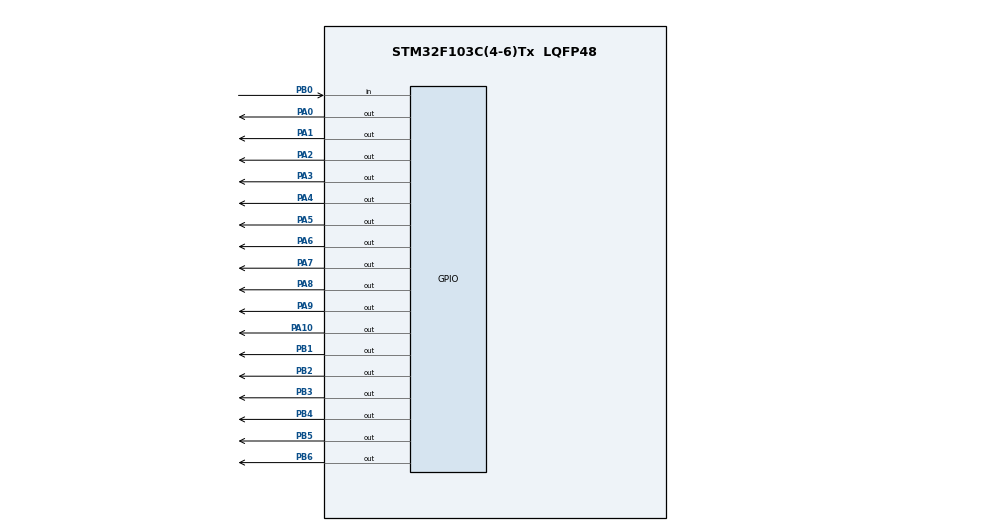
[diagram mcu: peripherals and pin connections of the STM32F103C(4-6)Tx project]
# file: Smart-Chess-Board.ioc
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Mcu.Family=STM32F1
Mcu.Name=STM32F103C(4-6)Tx
Mcu.Package=LQFP48
NVIC.PriorityGroup=NVIC_PRIORITYGROUP_4
PA0-WKUP.Signal=GPIO_Output
PA1.Signal=GPIO_Output
PA10.Signal=GPIO_Output
PA2.Signal=GPIO_Output
PA3.Signal=GPIO_Output
PA4.Signal=GPIO_Output
PA5.Signal=GPIO_Output
PA6.Signal=GPIO_Output
PA7.Signal=GPIO_Output
PA8.Signal=GPIO_Output
PA9.Signal=GPIO_Output
PB0.Signal=GPIO_Input
PB1.Signal=GPIO_Output
PB2.Signal=GPIO_Output
PB3.Signal=GPIO_Output
PB4.Signal=GPIO_Output
PB5.Signal=GPIO_Output
PB6.Signal=GPIO_Output
ProjectManager.HeapSize=0x200
ProjectManager.StackSize=0x400
ProjectManager.TargetToolchain=STM32CubeIDE
RCC.APB1Freq_Value=8000000
RCC.APB2Freq_Value=8000000
TIM1.Prescaler=15
VP_SYS_VS_ND.Mode=No_Debug
VP_TIM1_VS_ClockSourceINT.Mode=Internal
VP_TIM1_VS_ClockSourceITR.Mode=TriggerSource_ITR0
board=custom

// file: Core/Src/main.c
/* USER CODE BEGIN Header */
/**
  ******************************************************************************
  * @file           : main.c
  * @brief          : Main program body
  ******************************************************************************
  * @attention
  *
  * <h2><center>&copy; Copyright (c) 2021 STMicroelectronics.
  * All rights reserved.</center></h2>
  *
  * This software component is licensed by ST under BSD 3-Clause license,
  * the "License"; You may not use this file except in compliance with the
  * License. You may obtain a copy of the License at:
  *                        opensource.org/licenses/BSD-3-Clause
  *
  ******************************************************************************
  */
/* USER CODE END Header */
#include "main.h"

/* USER CODE BEGIN Includes */
#include <ctype.h>
/* USER CODE END Includes */

/* USER CODE BEGIN PTD */
typedef struct Posicao{
	int linha;
	int coluna;
}Posicao;

typedef struct Peca{
	Posicao posicao;
	char nome;
	uint32_t movimentos;
}Peca;

/* USER CODE END PTD */

/* USER CODE BEGIN PD */
#define OFF_LED                 0x38 << 16u
#define RED_LED                 0x08
#define GREEN_LED               0x10
#define BLUE_LED                0x20
#define WHITE_LED               0x38

#define TabStatus               (GPIOB->IDR & GPIO_PIN_0)

#define LedON                   GPIOB->BSRR = GPIO_PIN_2
#define LedOFF                  GPIOB->BSRR = GPIO_PIN_2 << 16u

#define CounterON               GPIOB->BSRR = GPIO_PIN_6
#define CounterOFF              GPIOB->BSRR = GPIO_PIN_6 << 16u

/*Trabalhando com display*/
#define LCD_E                   GPIO_PIN_8
#define LCD_RW                  GPIO_PIN_9
#define LCD_RS                  GPIO_PIN_10
#define LCD_RS_LOW              GPIOA->BSRR = LCD_RS << 16u
#define LCD_RS_HIGH             GPIOA->BSRR = LCD_RS
#define LCD_E_LOW               GPIOA->BSRR = LCD_E << 16u
#define LCD_E_HIGH              GPIOA->BSRR = LCD_E
#define LCD_E_BLINK             LCD_E_HIGH; LCD_Delay_us(50); LCD_E_LOW; LCD_Delay_us(50)
/* Commands*/
#define LCD_CLEARDISPLAY        0x01
#define LCD_RETURNHOME          0x02
#define LCD_ENTRYMODESET        0x04
#define LCD_DISPLAYCONTROL      0x08
#define LCD_CURSORSHIFT         0x10
#define LCD_FUNCTIONSET         0x20
#define LCD_SETCGRAMADDR        0x40
#define LCD_SETDDRAMADDR        0x80
/* Flags for display entry mode */
#define LCD_ENTRYRIGHT          0x00
#define LCD_ENTRYLEFT           0x02
#define LCD_ENTRYSHIFTINCREMENT 0x01
#define LCD_ENTRYSHIFTDECREMENT 0x00
/* Flags for display on/off control */
#define LCD_DISPLAYON           0x04
#define LCD_CURSORON            0x02
#define LCD_BLINKON             0x01
/* Flags for display/cursor shift */
#define LCD_DISPLAYMOVE         0x08
#define LCD_CURSORMOVE          0x00
#define LCD_MOVERIGHT           0x04
#define LCD_MOVELEFT            0x00
/* Flags for function set */
#define LCD_8BITMODE            0x10
#define LCD_4BITMODE            0x00
#define LCD_2LINE               0x08
#define LCD_1LINE               0x00
#define LCD_5x10DOTS            0x04
#define LCD_5x8DOTS             0x00
/* USER CODE END PD */

TIM_HandleTypeDef htim1;

/* USER CODE BEGIN PV */

uint8_t Turno = 0;

Peca Tabuleiro[8][8]= {
	{
		{.posicao.linha = 0, .posicao.coluna = 0, .nome = 'T', .movimentos = 0},
		{.posicao.linha = 0, .posicao.coluna = 1, .nome = 'C', .movimentos = 0},
		{.posicao.linha = 0, .posicao.coluna = 2, .nome = 'B', .movimentos = 0},
		{.posicao.linha = 0, .posicao.coluna = 3, .nome = 'Q', .movimentos = 0},
		{.posicao.linha = 0, .posicao.coluna = 4, .nome = 'K', .movimentos = 0},
		{.posicao.linha = 0, .posicao.coluna = 5, .nome = 'B', .movimentos = 0},
		{.posicao.linha = 0, .posicao.coluna = 6, .nome = 'C', .movimentos = 0},
		{.posicao.linha = 0, .posicao.coluna = 7, .nome = 'T', .movimentos = 0}
	},
	{
		{.posicao.linha = 1, .posicao.coluna = 0, .nome = 'P', .movimentos = 0},
		{.posicao.linha = 1, .posicao.coluna = 1, .nome = 'P', .movimentos = 0},
		{.posicao.linha = 1, .posicao.coluna = 2, .nome = 'P', .movimentos = 0},
		{.posicao.linha = 1, .posicao.coluna = 3, .nome = 'P', .movimentos = 0},
		{.posicao.linha = 1, .posicao.coluna = 4, .nome = 'P', .movimentos = 0},
		{.posicao.linha = 1, .posicao.coluna = 5, .nome = 'P', .movimentos = 0},
		{.posicao.linha = 1, .posicao.coluna = 6, .nome = 'P', .movimentos = 0},
		{.posicao.linha = 1, .posicao.coluna = 7, .nome = 'P', .movimentos = 0}
	},
	{
		{.posicao.linha = 2, .posicao.coluna = 0, .nome = '-', .movimentos = 0},
		{.posicao.linha = 2, .posicao.coluna = 1, .nome = '-', .movimentos = 0},
		{.posicao.linha = 2, .posicao.coluna = 2, .nome = '-', .movimentos = 0},
		{.posicao.linha = 2, .posicao.coluna = 3, .nome = '-', .movimentos = 0},
		{.posicao.linha = 2, .posicao.coluna = 4, .nome = '-', .movimentos = 0},
		{.posicao.linha = 2, .posicao.coluna = 5, .nome = '-', .movimentos = 0},
		{.posicao.linha = 2, .posicao.coluna = 6, .nome = '-', .movimentos = 0},
		{.posicao.linha = 2, .posicao.coluna = 7, .nome = '-', .movimentos = 0}
	},
	{
		{.posicao.linha = 3, .posicao.coluna = 0, .nome = '-', .movimentos = 0},
		{.posicao.linha = 3, .posicao.coluna = 1, .nome = '-', .movimentos = 0},
		{.posicao.linha = 3, .posicao.coluna = 2, .nome = '-', .movimentos = 0},
		{.posicao.linha = 3, .posicao.coluna = 3, .nome = '-', .movimentos = 0},
		{.posicao.linha = 3, .posicao.coluna = 4, .nome = '-', .movimentos = 0},
		{.posicao.linha = 3, .posicao.coluna = 5, .nome = '-', .movimentos = 0},
		{.posicao.linha = 3, .posicao.coluna = 6, .nome = '-', .movimentos = 0},
		{.posicao.linha = 3, .posicao.coluna = 7, .nome = '-', .movimentos = 0}
	},
	{
		{.posicao.linha = 4, .posicao.coluna = 0, .nome = '-', .movimentos = 0},
		{.posicao.linha = 4, .posicao.coluna = 1, .nome = '-', .movimentos = 0},
		{.posicao.linha = 4, .posicao.coluna = 2, .nome = '-', .movimentos = 0},
		{.posicao.linha = 4, .posicao.coluna = 3, .nome = '-', .movimentos = 0},
		{.posicao.linha = 4, .posicao.coluna = 4, .nome = '-', .movimentos = 0},
		{.posicao.linha = 4, .posicao.coluna = 5, .nome = '-', .movimentos = 0},
		{.posicao.linha = 4, .posicao.coluna = 6, .nome = '-', .movimentos = 0},
		{.posicao.linha = 4, .posicao.coluna = 7, .nome = '-', .movimentos = 0}
	},
	{
		{.posicao.linha = 5, .posicao.coluna = 0, .nome = '-', .movimentos = 0},
		{.posicao.linha = 5, .posicao.coluna = 1, .nome = '-', .movimentos = 0},
		{.posicao.linha = 5, .posicao.coluna = 2, .nome = '-', .movimentos = 0},
		{.posicao.linha = 5, .posicao.coluna = 3, .nome = '-', .movimentos = 0},
		{.posicao.linha = 5, .posicao.coluna = 4, .nome = '-', .movimentos = 0},
		{.posicao.linha = 5, .posicao.coluna = 5, .nome = '-', .movimentos = 0},
		{.posicao.linha = 5, .posicao.coluna = 6, .nome = '-', .movimentos = 0},
		{.posicao.linha = 5, .posicao.coluna = 7, .nome = '-', .movimentos = 0}
	},
	{
		{.posicao.linha = 6, .posicao.coluna = 0, .nome = 'p', .movimentos = 0},
		{.posicao.linha = 6, .posicao.coluna = 1, .nome = 'p', .movimentos = 0},
		{.posicao.linha = 6, .posicao.coluna = 2, .nome = 'p', .movimentos = 0},
		{.posicao.linha = 6, .posicao.coluna = 3, .nome = 'p', .movimentos = 0},
		{.posicao.linha = 6, .posicao.coluna = 4, .nome = 'p', .movimentos = 0},
		{.posicao.linha = 6, .posicao.coluna = 5, .nome = 'p', .movimentos = 0},
		{.posicao.linha = 6, .posicao.coluna = 6, .nome = 'p', .movimentos = 0},
		{.posicao.linha = 6, .posicao.coluna = 7, .nome = 'p', .movimentos = 0}
	},
	{
		{.posicao.linha = 7, .posicao.coluna = 0, .nome = 't', .movimentos = 0},
		{.posicao.linha = 7, .posicao.coluna = 1, .nome = 'c', .movimentos = 0},
		{.posicao.linha = 7, .posicao.coluna = 2, .nome = 'b', .movimentos = 0},
		{.posicao.linha = 7, .posicao.coluna = 3, .nome = 'q', .movimentos = 0},
		{.posicao.linha = 7, .posicao.coluna = 4, .nome = 'k', .movimentos = 0},
		{.posicao.linha = 7, .posicao.coluna = 5, .nome = 'b', .movimentos = 0},
		{.posicao.linha = 7, .posicao.coluna = 6, .nome = 'c', .movimentos = 0},
		{.posicao.linha = 7, .posicao.coluna = 7, .nome = 't', .movimentos = 0}
	}
};
uint16_t MovPos [8][8] = {
	{0,0, 0, 0, 0,0, 0, 0},
	{0,0, 0, 0, 0,0, 0, 0},
	{0,0, 0, 0, 0,0, 0, 0},
	{0,0, 0, 0, 0,0, 0, 0},
	{0,0, 0, 0, 0,0, 0, 0},
	{0,0, 0, 0, 0,0, 0, 0},
	{0,0, 0, 0, 0,0, 0, 0},
	{0,0, 0, 0, 0,0, 0, 0}
};

char TabAtual [8][8] = {
	{'T','C', 'B', 'Q', 'K', 'B', 'C', 'T'},
	{'P','P', 'P', 'P', 'P', 'P', 'P', 'P'},
	{'-','-', '-', '-', '-', '-', '-', '-'},
	{'-','-', '-', '-', '-', '-', '-', '-'},
	{'-','T', '-', '-', '-', '-', '-', '-'},
	{'-','-', '-', '-', '-', '-', '-', '-'},
	{'p','p', 'p', 'p', 'p', 'p', 'p', 'p'},
	{'t','c', 'b', 'q', 'k', 'b', 'c', 't'}
};

uint32_t Led [8][8] = {
	{OFF_LED, OFF_LED, OFF_LED, OFF_LED, OFF_LED, OFF_LED, OFF_LED, OFF_LED},
	{OFF_LED, OFF_LED, OFF_LED, OFF_LED, OFF_LED, OFF_LED, OFF_LED, OFF_LED},
	{OFF_LED, OFF_LED, OFF_LED, OFF_LED, OFF_LED, OFF_LED, OFF_LED, OFF_LED},
	{OFF_LED, OFF_LED, OFF_LED, OFF_LED, OFF_LED, OFF_LED, OFF_LED, OFF_LED},
	{OFF_LED, OFF_LED, OFF_LED, OFF_LED, OFF_LED, OFF_LED, OFF_LED, OFF_LED},
	{OFF_LED, OFF_LED, OFF_LED, OFF_LED, OFF_LED, OFF_LED, OFF_LED, OFF_LED},
	{OFF_LED, OFF_LED, OFF_LED, OFF_LED, OFF_LED, OFF_LED, OFF_LED, OFF_LED},
	{OFF_LED, OFF_LED, OFF_LED, OFF_LED, OFF_LED, OFF_LED, OFF_LED, OFF_LED}
};

char* LCD_Texto= "  Smart Chaess  \n      Board     ";

/* USER CODE END PV */

void SystemClock_Config(void);
static void MX_GPIO_Init(void);
static void MX_TIM1_Init(void);
/* USER CODE BEGIN PFP */
Peca* VerifyTab();
Peca* VerifyMov();
void Troca(Peca* p,Peca* p2);
void AtualizaLed(Peca* p);
void MovPossiveis(Peca* p);
void LigaLed();
void SetTable();
void ClearLed();
void  LCD_Delay_us(uint16_t  us);
static void LCD_Cmd(uint8_t cmd);
static void LCD_Data(uint8_t data);
void LCD_Init();
void LCD_Clear();
void LCD_Write(char* str);
/* USER CODE END PFP */

int main(void)
{

  /* MCU Configuration--------------------------------------------------------*/

  /* Reset of all peripherals, Initializes the Flash interface and the Systick. */
  HAL_Init();

  /* Configure the system clock */
  SystemClock_Config();

  /* Initialize all configured peripherals */
  MX_GPIO_Init();
  MX_TIM1_Init();
  /* USER CODE BEGIN 2 */
  LCD_Init();
  /* USER CODE END 2 */

  /* Infinite loop */
  while (1)
  {

    /* USER CODE BEGIN 3 */

	if(Turno==0){
		LCD_Write(" Jogador da vez:\n    Brancas     ");
	}
	else{
		LCD_Write(" Jogador da vez:\n    Pretas      ");
	}
	Peca* p;
	p = VerifyTab() ;
	if ( p != NULL ){
		if((islower(p->nome)&&Turno!=0)||(!islower(p->nome)&&Turno==0)){
			AtualizaLed(p);
			LigaLed();
			TabAtual[p->posicao.coluna][p->posicao.coluna ] = '-';
			Peca* p2 = VerifyMov();
			while(p2 == NULL){
				LigaLed();
				p2 = VerifyMov();
			}
			ClearLed();
			if(p2->nome=='-'){
				Troca(p,p2);
			}
			else{
				Led[p2->posicao.linha][p2->posicao.coluna] = WHITE_LED;
				TabAtual[p2->posicao.coluna][p2->posicao.coluna ] = '-';
				p2->nome = '-';
				for(int i=0;i<8;i++){
					for(int j=0;j<8;j++){
						MovPos[i][j]=0;
					}
				}
				MovPos[p2->posicao.linha][p2->posicao.coluna]=1;
				p2 = VerifyMov();
				while(p2 == NULL){
					LigaLed();
					p2 = VerifyMov();
				}

				Troca(p,p2);
			}
			Turno = (Turno+1)%2;
		}
		else{
			Led[p->posicao.linha][p->posicao.coluna] = RED_LED;
			LigaLed();
		}

	}

  }
  /* USER CODE END 3 */
}

void SystemClock_Config(void)
{
  RCC_OscInitTypeDef RCC_OscInitStruct = {0};
  RCC_ClkInitTypeDef RCC_ClkInitStruct = {0};

  /** Initializes the RCC Oscillators according to the specified parameters
  * in the RCC_OscInitTypeDef structure.
  */
  RCC_OscInitStruct.OscillatorType = RCC_OSCILLATORTYPE_HSI;
  RCC_OscInitStruct.HSIState = RCC_HSI_ON;
  RCC_OscInitStruct.HSICalibrationValue = RCC_HSICALIBRATION_DEFAULT;
  RCC_OscInitStruct.PLL.PLLState = RCC_PLL_NONE;
  if (HAL_RCC_OscConfig(&RCC_OscInitStruct) != HAL_OK)
  {
    Error_Handler();
  }
  /** Initializes the CPU, AHB and APB buses clocks
  */
  RCC_ClkInitStruct.ClockType = RCC_CLOCKTYPE_HCLK|RCC_CLOCKTYPE_SYSCLK
                              |RCC_CLOCKTYPE_PCLK1|RCC_CLOCKTYPE_PCLK2;
  RCC_ClkInitStruct.SYSCLKSource = RCC_SYSCLKSOURCE_HSI;
  RCC_ClkInitStruct.AHBCLKDivider = RCC_SYSCLK_DIV1;
  RCC_ClkInitStruct.APB1CLKDivider = RCC_HCLK_DIV1;
  RCC_ClkInitStruct.APB2CLKDivider = RCC_HCLK_DIV1;

  if (HAL_RCC_ClockConfig(&RCC_ClkInitStruct, FLASH_LATENCY_0) != HAL_OK)
  {
    Error_Handler();
  }
}

static void MX_TIM1_Init(void)
{

  TIM_ClockConfigTypeDef sClockSourceConfig = {0};
  TIM_SlaveConfigTypeDef sSlaveConfig = {0};
  TIM_MasterConfigTypeDef sMasterConfig = {0};

  htim1.Instance = TIM1;
  htim1.Init.Prescaler = 15;
  htim1.Init.CounterMode = TIM_COUNTERMODE_UP;
  htim1.Init.Period = 65535;
  htim1.Init.ClockDivision = TIM_CLOCKDIVISION_DIV1;
  htim1.Init.RepetitionCounter = 0;
  htim1.Init.AutoReloadPreload = TIM_AUTORELOAD_PRELOAD_DISABLE;
  if (HAL_TIM_Base_Init(&htim1) != HAL_OK)
  {
    Error_Handler();
  }
  sClockSourceConfig.ClockSource = TIM_CLOCKSOURCE_INTERNAL;
  if (HAL_TIM_ConfigClockSource(&htim1, &sClockSourceConfig) != HAL_OK)
  {
    Error_Handler();
  }
  sSlaveConfig.SlaveMode = TIM_SLAVEMODE_DISABLE;
  sSlaveConfig.InputTrigger = TIM_TS_ITR0;
  if (HAL_TIM_SlaveConfigSynchro(&htim1, &sSlaveConfig) != HAL_OK)
  {
    Error_Handler();
  }
  sMasterConfig.MasterOutputTrigger = TIM_TRGO_RESET;
  sMasterConfig.MasterSlaveMode = TIM_MASTERSLAVEMODE_DISABLE;
  if (HAL_TIMEx_MasterConfigSynchronization(&htim1, &sMasterConfig) != HAL_OK)
  {
    Error_Handler();
  }

}

static void MX_GPIO_Init(void)
{
  GPIO_InitTypeDef GPIO_InitStruct = {0};

  /* GPIO Ports Clock Enable */
  __HAL_RCC_GPIOA_CLK_ENABLE();
  __HAL_RCC_GPIOB_CLK_ENABLE();

  /*Configure GPIO pin Output Level */
  HAL_GPIO_WritePin(GPIOA, GPIO_PIN_0|GPIO_PIN_1|GPIO_PIN_2|GPIO_PIN_3
                          |GPIO_PIN_4|GPIO_PIN_5|GPIO_PIN_6|GPIO_PIN_7
                          |GPIO_PIN_8|GPIO_PIN_9|GPIO_PIN_10, GPIO_PIN_RESET);

  /*Configure GPIO pin Output Level */
  HAL_GPIO_WritePin(GPIOB, GPIO_PIN_1|GPIO_PIN_2|GPIO_PIN_3|GPIO_PIN_4
                          |GPIO_PIN_5|GPIO_PIN_6, GPIO_PIN_RESET);

  /*Configure GPIO pins : PA0 PA1 PA2 PA3
                           PA4 PA5 PA6 PA7
                           PA8 PA9 PA10 */
  GPIO_InitStruct.Pin = GPIO_PIN_0|GPIO_PIN_1|GPIO_PIN_2|GPIO_PIN_3
                          |GPIO_PIN_4|GPIO_PIN_5|GPIO_PIN_6|GPIO_PIN_7
                          |GPIO_PIN_8|GPIO_PIN_9|GPIO_PIN_10;
  GPIO_InitStruct.Mode = GPIO_MODE_OUTPUT_PP;
  GPIO_InitStruct.Pull = GPIO_NOPULL;
  GPIO_InitStruct.Speed = GPIO_SPEED_FREQ_LOW;
  HAL_GPIO_Init(GPIOA, &GPIO_InitStruct);

  /*Configure GPIO pin : PB0 */
  GPIO_InitStruct.Pin = GPIO_PIN_0;
  GPIO_InitStruct.Mode = GPIO_MODE_INPUT;
  GPIO_InitStruct.Pull = GPIO_NOPULL;
  HAL_GPIO_Init(GPIOB, &GPIO_InitStruct);

  /*Configure GPIO pins : PB1 PB2 PB3 PB4
                           PB5 PB6 */
  GPIO_InitStruct.Pin = GPIO_PIN_1|GPIO_PIN_2|GPIO_PIN_3|GPIO_PIN_4
                          |GPIO_PIN_5|GPIO_PIN_6;
  GPIO_InitStruct.Mode = GPIO_MODE_OUTPUT_PP;
  GPIO_InitStruct.Pull = GPIO_NOPULL;
  GPIO_InitStruct.Speed = GPIO_SPEED_FREQ_LOW;
  HAL_GPIO_Init(GPIOB, &GPIO_InitStruct);

}

/* USER CODE BEGIN 4 */

/* Desliga todos os leds do tabuleiro */
void ClearLed() {
	for(int i=0;i<8;i++){
		for (int j=0;j<8;j++){
			Led[i][j]= OFF_LED;
		}
	}
}

/* Define a iluminação do tabuleiro */
void AtualizaLed(Peca* p){
	MovPossiveis(p);
	for(int i=0;i<8;i++){
		for(int j=0;j<8;j++){
			if(MovPos[i][j]){
				Led[i][j] = WHITE_LED;
			}
			else{
				Led[j][i]= OFF_LED;
			}
		}
	}

	LigaLed();
}
void MovPossiveis(Peca* p){
	int i=0;
	Posicao posicao_aux = p->posicao;
	switch ( p->nome ){
	case'P':
		if ( (islower( p->nome ) != islower( TabAtual[posicao_aux.linha+1][posicao_aux.coluna+1])) && (posicao_aux.coluna+1<8) ){

			MovPos[posicao_aux.linha+1][posicao_aux.coluna+1] = 1;}
		if(islower(p->nome) != islower(TabAtual[posicao_aux.linha+1][posicao_aux.coluna-1]) && posicao_aux.coluna-1>-1 ){

			MovPos[posicao_aux.linha+1][posicao_aux.coluna-1] = 1;}
		if ( posicao_aux.linha==1){
			if( TabAtual[posicao_aux.linha+2][posicao_aux.coluna]=='-' ){

				MovPos[posicao_aux.linha+2][posicao_aux.coluna] = 1;
			}
		}
		if( TabAtual[posicao_aux.linha+1][posicao_aux.coluna]=='-' ){

			MovPos[posicao_aux.linha+1][posicao_aux.coluna] = 1;
		}
		break;
	case'p':
		if ( islower(p->nome) != islower(TabAtual[posicao_aux.linha-1][posicao_aux.coluna-1]) && posicao_aux.coluna+1<8 ){

			MovPos[posicao_aux.linha-1][posicao_aux.coluna-1] = 1;}
		if ( islower(p->nome) != islower(TabAtual[posicao_aux.linha-1][posicao_aux.coluna-1]) && posicao_aux.coluna-1>-1 ){

			MovPos[posicao_aux.linha-1][posicao_aux.coluna-1] = 1;}
		if ( posicao_aux.linha==6){
			if( TabAtual[posicao_aux.linha-2][posicao_aux.coluna]=='-' ){

				MovPos[posicao_aux.linha-2][posicao_aux.coluna] = 1;
			}
		}
		if( TabAtual[posicao_aux.linha-1][posicao_aux.coluna]=='-' ){

			MovPos[posicao_aux.linha-1][posicao_aux.coluna] = 1;
		}
		break;

	case 'T':
	case 't':
        while ( (TabAtual[posicao_aux.linha+i][posicao_aux.coluna]=='-' || islower(p->nome)!=islower(TabAtual[posicao_aux.linha+i][posicao_aux.coluna]) ) && posicao_aux.linha>-1){

		    MovPos[posicao_aux.linha+i][posicao_aux.coluna] = 1;
			i = i-1;
		}
		i=0;
		while ( (TabAtual[posicao_aux.linha+i][posicao_aux.coluna]=='-' || islower(p->nome)!=islower(TabAtual[posicao_aux.linha+i][posicao_aux.coluna]) ) && posicao_aux.linha<8){

			MovPos[posicao_aux.linha+i][posicao_aux.coluna] = 1;
			i = i+1;

		}
		i=0;
		while ( (TabAtual[posicao_aux.linha][posicao_aux.coluna+i]=='-' || islower(p->nome)!=islower(TabAtual[posicao_aux.linha][posicao_aux.coluna+i]) ) && posicao_aux.coluna>-1){

			MovPos[posicao_aux.linha][posicao_aux.coluna+i] = 1;
			i = i-1;
		}
		i=0;
		while ( (TabAtual[posicao_aux.linha][posicao_aux.coluna+i]=='-' || islower(p->nome)!=islower(TabAtual[posicao_aux.linha][posicao_aux.coluna+i]) ) && posicao_aux.linha<8){

			MovPos[posicao_aux.linha][posicao_aux.coluna+i] = 1;
			i = i+1;
		}
		break;
	case 'c':
	case 'C':
		if ( (TabAtual[posicao_aux.linha-2][posicao_aux.coluna+1]=='-' || islower(p->nome)!=islower(TabAtual[posicao_aux.linha-2][posicao_aux.coluna+1]) ) && posicao_aux.linha-2>-1 && posicao_aux.coluna+1<8){

		    MovPos[posicao_aux.linha-2][posicao_aux.coluna+1] = 1;
		}
		if ( (TabAtual[posicao_aux.linha-1][posicao_aux.coluna+2]=='-' || islower(p->nome)!=islower(TabAtual[posicao_aux.linha-1][posicao_aux.coluna+2]) ) && posicao_aux.linha-1>-1 && posicao_aux.coluna+2<8){

		    MovPos[posicao_aux.linha-1][posicao_aux.coluna+2] = 1;
		}
		if ( (TabAtual[posicao_aux.linha+1][posicao_aux.coluna+2]=='-' || islower(p->nome)!=islower(TabAtual[posicao_aux.linha+1][posicao_aux.coluna+2]) ) && posicao_aux.linha+1<8 && posicao_aux.coluna+2<8){

		    MovPos[posicao_aux.linha+1][posicao_aux.coluna+2] = 1;
		}
		if ( (TabAtual[posicao_aux.linha+2][posicao_aux.coluna+1]=='-' || islower(p->nome)!=islower(TabAtual[posicao_aux.linha+2][posicao_aux.coluna+1]) ) && posicao_aux.linha+2<8 && posicao_aux.coluna+1<8){

		    MovPos[posicao_aux.linha+2][posicao_aux.coluna+1] = 1;
		}
		if ( (TabAtual[posicao_aux.linha+2][posicao_aux.coluna-1]=='-' || islower(p->nome)!=islower(TabAtual[posicao_aux.linha+2][posicao_aux.coluna-1]) ) && posicao_aux.linha+2<8 && posicao_aux.coluna-1>-1){

		    MovPos[posicao_aux.linha+2][posicao_aux.coluna-1] = 1;
		}
		if ( (TabAtual[posicao_aux.linha+1][posicao_aux.coluna-2]=='-' || islower(p->nome)!=islower(TabAtual[posicao_aux.linha+1][posicao_aux.coluna-2]) ) && posicao_aux.linha+1<8 && posicao_aux.coluna-2>-1){

		    MovPos[posicao_aux.linha+1][posicao_aux.coluna-2] = 1;
		}
		if ( (TabAtual[posicao_aux.linha-1][posicao_aux.coluna-2]=='-' || islower(p->nome)!=islower(TabAtual[posicao_aux.linha-1][posicao_aux.coluna-2]) ) && posicao_aux.linha-1>-1 && posicao_aux.coluna-2>-1){

		    MovPos[posicao_aux.linha-1][posicao_aux.coluna-2] = 1;
		}
		if ( (TabAtual[posicao_aux.linha-2][posicao_aux.coluna-1]=='-' || islower(p->nome)!=islower(TabAtual[posicao_aux.linha-2][posicao_aux.coluna-1]) ) && posicao_aux.linha-2>-1 && posicao_aux.coluna-1>-1){

		    MovPos[posicao_aux.linha-2][posicao_aux.coluna-1] = 1;
		}
		break;

	case'b':
	case'B':
		while ( (TabAtual[posicao_aux.linha-i][posicao_aux.coluna+i]=='-' || islower(p->nome)!=islower(TabAtual[posicao_aux.linha-i][posicao_aux.coluna+i]) ) && posicao_aux.linha-i>-1 && posicao_aux.coluna+i<8){

			MovPos[posicao_aux.linha-i][posicao_aux.coluna+i] = 1;
			i = i+1;
		}
		i=0;
		while ( (TabAtual[posicao_aux.linha+i][posicao_aux.coluna+i]=='-' || islower(p->nome)!=islower(TabAtual[posicao_aux.linha+i][posicao_aux.coluna+i]) ) && posicao_aux.linha+i<8 && posicao_aux.coluna+i<8){

			MovPos[posicao_aux.linha+i][posicao_aux.coluna+i] = 1;
			i = i+1;
		}
		i=0;
		while ( (TabAtual[posicao_aux.linha+i][posicao_aux.coluna-i]=='-' || islower(p->nome)!=islower(TabAtual[posicao_aux.linha+i][posicao_aux.coluna-i]) ) && posicao_aux.linha+i<8 && posicao_aux.coluna-i>-1){

			MovPos[posicao_aux.linha+i][posicao_aux.coluna-i] = 1;
			i = i+1;
		}
		i=0;
		while ( (TabAtual[posicao_aux.linha-i][posicao_aux.coluna-i]=='-' || islower(p->nome)!=islower(TabAtual[posicao_aux.linha-i][posicao_aux.coluna-i]) ) && posicao_aux.linha-i>-1 && posicao_aux.coluna-i>-1){

			MovPos[posicao_aux.linha-i][posicao_aux.coluna-i] = 1;
			i = i+1;
		}
		i=0;
		break;
	case 'q':
	case 'Q':
		while ( (TabAtual[posicao_aux.linha+i][posicao_aux.coluna]=='-' || islower(p->nome)!=islower(TabAtual[posicao_aux.linha+i][posicao_aux.coluna]) ) && posicao_aux.linha>-1){

			MovPos[posicao_aux.linha+i][posicao_aux.coluna] = 1;
			i = i-1;
		}
		i=0;
		while ( (TabAtual[posicao_aux.linha+i][posicao_aux.coluna]=='-' || islower(p->nome)!=islower(TabAtual[posicao_aux.linha+i][posicao_aux.coluna]) ) && posicao_aux.linha<8){

			MovPos[posicao_aux.linha+i][posicao_aux.coluna] = 1;
			i = i+1;
		}
		i=0;
		while ( (TabAtual[posicao_aux.linha][posicao_aux.coluna+i]=='-' || islower(p->nome)!=islower(TabAtual[posicao_aux.linha][posicao_aux.coluna+i]) ) && posicao_aux.coluna>-1){

			MovPos[posicao_aux.linha][posicao_aux.coluna+i] = 1;
			i = i-1;
		}
		i=0;
		while ( (TabAtual[posicao_aux.linha][posicao_aux.coluna+i]=='-' || islower(p->nome)!=islower(TabAtual[posicao_aux.linha][posicao_aux.coluna+i]) ) && posicao_aux.linha<8){

			MovPos[posicao_aux.linha][posicao_aux.coluna+i] = 1;
			i = i+1;
		}
		while ( (TabAtual[posicao_aux.linha-i][posicao_aux.coluna+i]=='-' || islower(p->nome)!=islower(TabAtual[posicao_aux.linha-i][posicao_aux.coluna+i]) ) && posicao_aux.linha-i>-1 && posicao_aux.coluna+i<8){

			MovPos[posicao_aux.linha-i][posicao_aux.coluna+i] = 1;
			i = i+1;
		}
		i=0;
		while ( (TabAtual[posicao_aux.linha+i][posicao_aux.coluna+i]=='-' || islower(p->nome)!=islower(TabAtual[posicao_aux.linha+i][posicao_aux.coluna+i]) ) && posicao_aux.linha+i<8 && posicao_aux.coluna+i<8){

			MovPos[posicao_aux.linha+i][posicao_aux.coluna+i] = 1;
			i = i+1;
		}
		i=0;
		while ( (TabAtual[posicao_aux.linha+i][posicao_aux.coluna-i]=='-' || islower(p->nome)!=islower(TabAtual[posicao_aux.linha+i][posicao_aux.coluna-i]) ) && posicao_aux.linha+i<8 && posicao_aux.coluna-i>-1){

			MovPos[posicao_aux.linha+i][posicao_aux.coluna-i] = 1;
			i = i+1;
		}
		i=0;
		while ( (TabAtual[posicao_aux.linha-i][posicao_aux.coluna-i]=='-' || islower(p->nome)!=islower(TabAtual[posicao_aux.linha-i][posicao_aux.coluna-i]) ) && posicao_aux.linha-i>-1 && posicao_aux.coluna-i>-1){

			MovPos[posicao_aux.linha-i][posicao_aux.coluna-i] = 1;
			i = i+1;
			}
		i=0;
		break;
	case'K':
	case'k':
		if ( (TabAtual[posicao_aux.linha-1][posicao_aux.coluna+1]=='-' || islower(p->nome)!=islower(TabAtual[posicao_aux.linha-1][posicao_aux.coluna+1]) ) && posicao_aux.linha-1>-1 && posicao_aux.coluna+1<8){

			MovPos[posicao_aux.linha-1][posicao_aux.coluna+1] = 1;
		}
		if ( (TabAtual[posicao_aux.linha-1][posicao_aux.coluna-1]=='-' || islower(p->nome)!=islower(TabAtual[posicao_aux.linha-1][posicao_aux.coluna-1]) ) && posicao_aux.linha-1>-1 && posicao_aux.coluna-1>-1){

			MovPos[posicao_aux.linha-1][posicao_aux.coluna-1] = 1;
		}
		if ( (TabAtual[posicao_aux.linha+1][posicao_aux.coluna+1]=='-' || islower(p->nome)!=islower(TabAtual[posicao_aux.linha+1][posicao_aux.coluna+1]) ) && posicao_aux.linha+1<8 && posicao_aux.coluna+1<8){

			MovPos[posicao_aux.linha+1][posicao_aux.coluna+1] = 1;
		}
		if ( (TabAtual[posicao_aux.linha+1][posicao_aux.coluna-1]=='-' || islower(p->nome)!=islower(TabAtual[posicao_aux.linha+1][posicao_aux.coluna-1]) ) && posicao_aux.linha+1<8 && posicao_aux.coluna-1>-1){

			MovPos[posicao_aux.linha+1][posicao_aux.coluna-1] = 1;
		}
		if ( (TabAtual[posicao_aux.linha-1][posicao_aux.coluna]=='-' || islower(p->nome)!=islower(TabAtual[posicao_aux.linha-1][posicao_aux.coluna]) ) && posicao_aux.linha-1>-1){

			MovPos[posicao_aux.linha-1][posicao_aux.coluna] = 1;
		}
		if ( (TabAtual[posicao_aux.linha+1][posicao_aux.coluna]=='-' || islower(p->nome)!=islower(TabAtual[posicao_aux.linha+1][posicao_aux.coluna]) ) && posicao_aux.linha+1<8){

			MovPos[posicao_aux.linha+1][posicao_aux.coluna] = 1;
		}
		if ( (TabAtual[posicao_aux.linha][posicao_aux.coluna+1]=='-' || islower(p->nome)!=islower(TabAtual[posicao_aux.linha][posicao_aux.coluna+1]) ) && posicao_aux.coluna+1<8){

			MovPos[posicao_aux.linha][posicao_aux.coluna+1] = 1;
		}
		if ( (TabAtual[posicao_aux.linha][posicao_aux.coluna-1]=='-' || islower(p->nome)!=islower(TabAtual[posicao_aux.linha][posicao_aux.coluna-1]) ) && posicao_aux.coluna-1>-1){

			MovPos[posicao_aux.linha][posicao_aux.coluna-1] = 1;
		}

	default:
		break;
	}
}

/* Acende os leds do tabuleiro */
void LigaLed(){
	CounterON;
	LedON;
	for(int i=0;i<8;i++){
		for (int j=0;j<8;j++){
			GPIOB->BSRR = Led[j][i];
			HAL_Delay(5);
			GPIOB->BSRR = OFF_LED;
			SetTable();
		}
	}
	CounterOFF;
	LedOFF;
}

/* Virifica se uma casa teve uma peça removida do tabuleiro */
Peca* VerifyTab(){
	CounterON;
	for(int i=0;i<8;i++){
		for (int j=0;j<8;j++){
			if (!TabStatus && Tabuleiro[j][i].nome != '-' ){
				CounterOFF;
				return &Tabuleiro[j][i];
			}
			SetTable();
		}
	}
	CounterOFF;
	return NULL;
}

/* Verifica os movimentos realizados no tabuleiro */
Peca* VerifyMov(){
	CounterON;
	for(int i=0;i<8;i++){
		for (int j=0;j<8;j++){
			if ( ( (!TabStatus && TabAtual[j][i] != '-') || (TabStatus && TabAtual[j][i] == '-') ) && MovPos[j][i] ){
				CounterOFF;
				return &Tabuleiro[j][i];
			}
			SetTable();
		}
	}
	CounterOFF;
	return NULL;
}
void Troca(Peca* p,Peca* p2){
	Posicao aux = p->posicao;
	p->posicao  = p2->posicao;
	p2->posicao = aux;
	Tabuleiro[p->posicao.linha][p->posicao.coluna] = *p;
	Tabuleiro[p2->posicao.linha][p2->posicao.coluna] = *p2;
}

/* Altera a casa do tabuleiro apontada pelo contador */
void SetTable(){
	GPIOB->BSRR = GPIO_PIN_1;
	HAL_Delay(1);
	GPIOB->BSRR = GPIO_PIN_1 << 16u;
}

/* Funções do LCD
 * Adaptado de https://github.com/nimaltd/LCD-Character
 * */

void  LCD_Delay_us(uint16_t  us)
{
  uint32_t  Div = (SysTick->LOAD+1)/1000;
  uint32_t  StartMicros = HAL_GetTick()*1000 + (1000- SysTick->VAL/Div);
  while((HAL_GetTick()*1000 + (1000-SysTick->VAL/Div)-StartMicros < us));
}
static void LCD_Cmd(uint8_t cmd)
{
	GPIOA->ODR = cmd;
	LCD_RS_LOW;
	LCD_E_BLINK;
}
static void LCD_Data(uint8_t data)
{
	GPIOA->ODR = data;
	LCD_RS_HIGH;
	LCD_E_BLINK;
}
void LCD_Init()
{
	LCD_Cmd(LCD_FUNCTIONSET | LCD_8BITMODE | LCD_5x8DOTS | LCD_2LINE);
	HAL_Delay(5);
	LCD_Cmd(LCD_DISPLAYCONTROL | LCD_DISPLAYON  |LCD_BLINKON);
	HAL_Delay(5);
}
void LCD_Clear()
{
	LCD_Cmd(LCD_CLEARDISPLAY);
	HAL_Delay(5);
}
void LCD_Write(char* str)
{
	LCD_Cmd(LCD_CLEARDISPLAY);
	while (*str)
	{
		if (*str == '\n')
		{
			LCD_Cmd(LCD_SETDDRAMADDR | 0x40);
		}
		LCD_Data(*str);
		str++;
	}
}

/* USER CODE END 4 */

void Error_Handler(void)
{
  __disable_irq();
  while (1)
  {
  }
}

/************************ (C) COPYRIGHT STMicroelectronics *****END OF FILE****/
